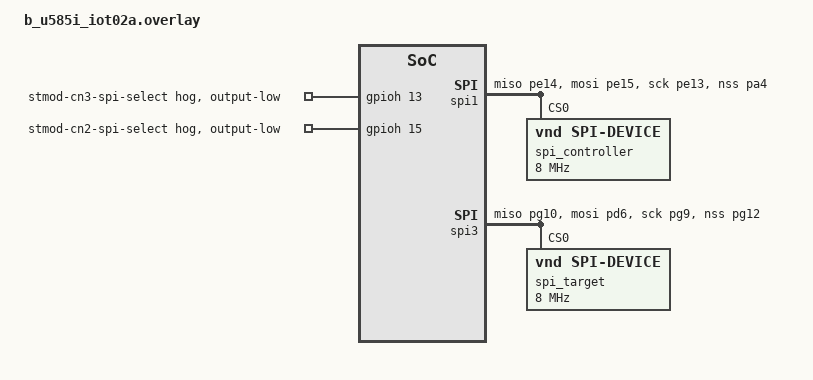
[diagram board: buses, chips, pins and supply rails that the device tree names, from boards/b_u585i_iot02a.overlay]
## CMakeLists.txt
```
# SPDX-FileCopyrightText: Copyright 2026 Nordic Semiconductor ASA
# SPDX-License-Identifier: Apache-2.0

cmake_minimum_required(VERSION 3.28.0)
find_package(Zephyr REQUIRED HINTS $ENV{ZEPHYR_BASE})
project(spi_rtio_loopback)

file(GLOB app_sources src/*.c)
target_sources(app PRIVATE ${app_sources})
```

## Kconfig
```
# SPDX-FileCopyrightText: Copyright 2026 Nordic Semiconductor ASA
# SPDX-License-Identifier: Apache-2.0

mainmenu "SPI RTIO Loopback Test"

config SAMPLE_DATA_WRITE_SIZE
	int "Write size from perspective of controller in bytes"
	default 4

config SAMPLE_DATA_READ_SIZE
	int "Read size from perspective of controller in bytes"
	default 32

choice SAMPLE_SPI_MODE
	prompt "SPI mode used by controller and device"
	default SAMPLE_SPI_MODE_0

config SAMPLE_SPI_MODE_0
	bool "Use SPI mode 0 for controller and device"

config SAMPLE_SPI_MODE_1
	bool "Use SPI mode 1 for controller and device"

config SAMPLE_SPI_MODE_2
	bool "Use SPI mode 2 for controller and device"

config SAMPLE_SPI_MODE_3
	bool "Use SPI mode 3 for controller and device"

endchoice # SAMPLE_SPI_MODE

choice SAMPLE_SPI_BIT_ORDER
	prompt "SPI bit order used by controller and device"
	default SAMPLE_SPI_BIT_ORDER_MSB

config SAMPLE_SPI_BIT_ORDER_MSB
	bool "Use MSB SPI bit order for controller and device"

config SAMPLE_SPI_BIT_ORDER_LSB
	bool "Use LSB SPI bit order for controller and device"

endchoice # SAMPLE_SPI_BIT_ORDER

source "Kconfig.zephyr"
```

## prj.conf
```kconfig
# SPDX-FileCopyrightText: Copyright 2026 Nordic Semiconductor ASA
# SPDX-License-Identifier: Apache-2.0

CONFIG_SPI=y
CONFIG_RTIO=y
CONFIG_SPI_RTIO=y
```

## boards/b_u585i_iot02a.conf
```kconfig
# SPDX-FileCopyrightText: Copyright 2026 Nordic Semiconductor ASA
# SPDX-License-Identifier: Apache-2.0

CONFIG_SPI_STM32_INTERRUPT=y
CONFIG_SPI_STM32_DMA=y
```

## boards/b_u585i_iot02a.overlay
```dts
/*
 * SPDX-FileCopyrightText: Copyright 2026 Nordic Semiconductor ASA
 *
 * SPDX-License-Identifier: Apache-2.0
 */

/* SPI bus pins of SPI1 and SPI3 are exposed on the STMod+ CN2 and CN3 connectors
 *
 *  Bus     MISO           MOSI           SCK            NSS
 *          Pin   Hdr      Pin   Hdr      Pin   Hdr      Pin   Hdr
 *  spi1    PE14  CN3:3    PE15  CN3:2    PE13  CN3:4    PA4   CN3:1
 *  spi3    PG10  CN2:3    PD6   CN2:2    PG9   CN2:4    PG12  CN2:1
 *
 * Short CN2:1 to CN3:1, CN2:2 to CN3:2, CN2:3 to CN3:3 and CN2:4 to CN3:4 for the
 * test to pass.
 */

&gpioh {
	status = "okay";

	stmod-cn3-spi-select {
		gpio-hog;
		gpios = <13 GPIO_ACTIVE_HIGH>;
		output-low;
	};

	stmod-cn2-spi-select {
		gpio-hog;
		gpios = <15 GPIO_ACTIVE_HIGH>;
		output-low;
	};
};

&spi1 {
	status = "okay";
	pinctrl-0 = <&spi1_miso_pe14 &spi1_mosi_pe15 &spi1_sck_pe13 &spi1_nss_pa4>;
	pinctrl-names = "default";
	dmas = <&gpdma1 7 STM32_DMA_PERIPH_TX>,
	       <&gpdma1 6 STM32_DMA_PERIPH_RX>;
	dma-names = "tx", "rx";
	st,fifo-threshold = <8>;

	spi_controller: spi-device@0 {
		compatible = "vnd,spi-device";
		reg = <0>;
		spi-max-frequency = <DT_FREQ_M(8)>;
	};
};

&spi3 {
	status = "okay";
	pinctrl-0 = <&spi3_miso_pg10 &spi3_mosi_pd6 &spi3_sck_pg9 &spi3_nss_pg12>;
	pinctrl-names = "default";
	dmas = <&gpdma1 11 STM32_DMA_PERIPH_TX>,
	       <&gpdma1 10 STM32_DMA_PERIPH_RX>;
	dma-names = "tx", "rx";
	st,fifo-threshold = <8>;

	spi_target: spi-device@0 {
		compatible = "vnd,spi-device";
		reg = <0>;
		spi-max-frequency = <DT_FREQ_M(8)>;
	};
};
```

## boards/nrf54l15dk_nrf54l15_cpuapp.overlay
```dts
/*
 * SPDX-FileCopyrightText: Copyright 2026 Nordic Semiconductor ASA
 *
 * SPDX-License-Identifier: Apache-2.0
 */

/*
 * SCK = P1.12 and P1.13
 * MISO = P1.10 and P1.11
 * MOSI = P1.08 and P1.09
 * CSN = P1.14 and P2.10
 */

&pinctrl {
	spi22_default: spi22_default {
		group1 {
			psels = <NRF_PSEL(SPIM_SCK, 1, 13)>,
				<NRF_PSEL(SPIM_MISO, 1, 11)>,
				<NRF_PSEL(SPIM_MOSI, 1, 9)>;
		};
	};

	spi22_sleep: spi22_sleep {
		group1 {
			psels = <NRF_PSEL(SPIM_SCK, 1, 13)>,
				<NRF_PSEL(SPIM_MISO, 1, 11)>,
				<NRF_PSEL(SPIM_MOSI, 1, 9)>;
			low-power-enable;
		};
	};

	spi21_default: spi21_default {
		group1 {
			psels = <NRF_PSEL(SPIS_SCK, 1, 12)>,
				<NRF_PSEL(SPIS_MISO, 1, 10)>,
				<NRF_PSEL(SPIS_MOSI, 1, 8)>,
				<NRF_PSEL(SPIS_CSN, 1, 14)>;
		};
	};

	spi21_sleep: spi21_sleep {
		group1 {
			psels = <NRF_PSEL(SPIS_SCK, 1, 12)>,
				<NRF_PSEL(SPIS_MISO, 1, 10)>,
				<NRF_PSEL(SPIS_MOSI, 1, 8)>,
				<NRF_PSEL(SPIS_CSN, 1, 14)>;
			low-power-enable;
		};
	};
};

&gpio2 {
	status = "okay";
};

&spi22 {
	pinctrl-0 = <&spi22_default>;
	pinctrl-1 = <&spi22_sleep>;
	pinctrl-names = "default", "sleep";
	overrun-character = <0x00>;
	cs-gpios = <&gpio2 10 GPIO_ACTIVE_LOW>;
	status = "okay";

	spi_controller: spi-device@0 {
		compatible = "vnd,spi-device";
		reg = <0>;
		spi-max-frequency = <DT_FREQ_M(8)>;
	};
};

&spi21 {
	compatible = "nordic,nrf-spis";
	def-char = <0x00>;
	pinctrl-0 = <&spi21_default>;
	pinctrl-1 = <&spi21_sleep>;
	pinctrl-names = "default", "sleep";
	status = "okay";
	/delete-property/ rx-delay-supported;
	/delete-property/ rx-delay;

	spi_target: spi-device@0 {
		compatible = "vnd,spi-device";
		reg = <0>;
		spi-max-frequency = <DT_FREQ_M(8)>;
	};
};
```

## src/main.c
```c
/*
 * SPDX-FileCopyrightText: Copyright 2026 Nordic Semiconductor ASA
 *
 * SPDX-License-Identifier: Apache-2.0
 */

#include <zephyr/kernel.h>
#include <zephyr/drivers/spi.h>
#include <zephyr/rtio/rtio.h>

#include <string.h>

#define SAMPLE_SPI_CONTROLLER_NODE DT_NODELABEL(spi_controller)
#define SAMPLE_SPI_CONTROLLER_BUS DEVICE_DT_GET(DT_BUS(SAMPLE_SPI_CONTROLLER_NODE))
#define SAMPLE_SPI_TARGET_NODE DT_NODELABEL(spi_target)
#define SAMPLE_SPI_TARGET_BUS DEVICE_DT_GET(DT_BUS(SAMPLE_SPI_TARGET_NODE))

#if CONFIG_SAMPLE_SPI_MODE_0
#define SAMPLE_CONFIG_MODE (0)
#elif CONFIG_SAMPLE_SPI_MODE_1
#define SAMPLE_CONFIG_MODE (SPI_MODE_CPHA)
#elif CONFIG_SAMPLE_SPI_MODE_2
#define SAMPLE_CONFIG_MODE (SPI_MODE_CPOL)
#elif CONFIG_SAMPLE_SPI_MODE_3
#define SAMPLE_CONFIG_MODE (SPI_MODE_CPOL | SPI_MODE_CPHA)
#endif

#if CONFIG_SAMPLE_SPI_BIT_ORDER_MSB
#define SAMPLE_CONFIG_BIT_ORDER (SPI_TRANSFER_MSB)
#elif CONFIG_SAMPLE_SPI_BIT_ORDER_LSB
#define SAMPLE_CONFIG_BIT_ORDER (SPI_TRANSFER_LSB)
#endif

#define SAMPLE_SPI_CONTROLLER_CONFIG \
	(SPI_WORD_SET(8) | SAMPLE_CONFIG_MODE | SAMPLE_CONFIG_BIT_ORDER | SPI_OP_MODE_CONTROLLER)

#define SAMPLE_SPI_TARGET_CONFIG \
	(SPI_WORD_SET(8) | SAMPLE_CONFIG_MODE | SAMPLE_CONFIG_BIT_ORDER | SPI_OP_MODE_PERIPHERAL)

#define SAMPLE_TIMEOUT K_SECONDS(1)

#define SAMPLE_WRITE_SIZE CONFIG_SAMPLE_DATA_WRITE_SIZE
#define SAMPLE_READ_SIZE CONFIG_SAMPLE_DATA_READ_SIZE
#define SAMPLE_BUFFER_SIZE (SAMPLE_WRITE_SIZE + SAMPLE_READ_SIZE)

/*
 * The user defines RTIO contexts for which actions like writes and reads will be
 * submitted, and the results of said actions will be retrieved. They are device
 * agnostic.
 *
 * We have one SPI controller device, and one SPI target device. One RTIO context
 * is defined for each of them. This allows us to easily manage their separate
 * transactions as each is tied to a specific RTIO context.
 *
 *
 * We will be using 1 submission queue event (SQEs) for SPI transceive
 * and 1 completion queue event (CQE) for the transaction result.
 */
RTIO_DEFINE(sample_controller_rtio, 1, 1);
RTIO_DEFINE(sample_target_rtio, 1, 1);

/*
 * The user defines RTIO IODEVs which bind the RTIO contexts to the specific
 * underlying devices, in this case SPI devices. The helper macro
 * SPI_DT_IODEV_DEFINE defines an RTIO IODEV specific to a SPI device defined
 * in the devicetree.
 */
SPI_DT_IODEV_DEFINE(sample_controller_rtio_iodev,
		    SAMPLE_SPI_CONTROLLER_NODE,
		    SAMPLE_SPI_CONTROLLER_CONFIG);
SPI_DT_IODEV_DEFINE(sample_target_rtio_iodev,
		    SAMPLE_SPI_TARGET_NODE,
		    SAMPLE_SPI_TARGET_CONFIG);

/* Source of truth transaction data */
static uint8_t sample_write_data[SAMPLE_BUFFER_SIZE];
static uint8_t sample_read_data[SAMPLE_BUFFER_SIZE];

/*
 * The controller will write data from sample_controller_write_data then read
 * data into sample_controller_read_buf.
 */
static uint8_t sample_controller_write_data[SAMPLE_BUFFER_SIZE];
static uint8_t sample_controller_read_buf[SAMPLE_BUFFER_SIZE];

/*
 * The target will read data into sample_target_read_buf, then write data from
 * sample_target_write_data.
 */
static uint8_t sample_target_read_buf[SAMPLE_BUFFER_SIZE];
static uint8_t sample_target_write_data[SAMPLE_BUFFER_SIZE];

static void sample_init_data(void)
{
	memset(sample_write_data, 0xFF, SAMPLE_BUFFER_SIZE);
	for (size_t i = 0; i < SAMPLE_WRITE_SIZE; i++) {
		sample_write_data[i] = (uint8_t)i;
	}

	memset(sample_read_data, 0xFF, SAMPLE_BUFFER_SIZE);
	for (size_t i = 0; i < SAMPLE_READ_SIZE; i++) {
		sample_read_data[i + SAMPLE_WRITE_SIZE] = 255 - (uint8_t)i;
	}

	memcpy(sample_controller_write_data, sample_write_data, SAMPLE_BUFFER_SIZE);
	memset(sample_controller_read_buf, 0x80, SAMPLE_BUFFER_SIZE);
	memset(sample_target_read_buf, 0x80, SAMPLE_BUFFER_SIZE);
	memcpy(sample_target_write_data, sample_read_data, SAMPLE_BUFFER_SIZE);
}

static int sample_validate_transaction(void)
{
	int ret;

	ret = memcmp(sample_read_data, sample_controller_read_buf, SAMPLE_BUFFER_SIZE);
	if (ret) {
		return ret;
	}

	ret = memcmp(sample_write_data, sample_target_read_buf, SAMPLE_BUFFER_SIZE);
	if (ret) {
		return ret;
	}

	return 0;
}

static int sample_submit_target_read_write(void)
{
	struct rtio_sqe *sqe;
	int ret;

	sqe = rtio_sqe_acquire(&sample_target_rtio);
	rtio_sqe_prep_transceive(sqe,
				 &sample_target_rtio_iodev,
				 RTIO_PRIO_NORM,
				 sample_target_write_data,
				 sample_target_read_buf,
				 SAMPLE_BUFFER_SIZE,
				 NULL);

	/*
	 * We will now submit the transaction, allowing the RTIO context to start
	 * performing the SQEs. The RTIO context will start the read SQE, which
	 * will be waiting until we start the write from the SPI controller device.
	 */
	ret = rtio_submit(&sample_target_rtio, 0);
	if (ret) {
		return ret;
	}

	return 0;
}

static int sample_submit_controller_write_read(void)
{
	struct rtio_sqe *sqe;
	int ret;

	sqe = rtio_sqe_acquire(&sample_controller_rtio);
	rtio_sqe_prep_transceive(sqe,
				 &sample_controller_rtio_iodev,
				 RTIO_PRIO_NORM,
				 sample_controller_write_data,
				 sample_controller_read_buf,
				 SAMPLE_BUFFER_SIZE,
				 NULL);

	/*
	 * The RTIO context will start the write SQE, which the waiting target
	 * device will receive, allowing both transactions to complete in the
	 * background.
	 */
	ret = rtio_submit(&sample_controller_rtio, 0);
	if (ret) {
		return ret;
	}

	return 0;
}

static int sample_await_target_read_write(void)
{
	struct rtio_cqe *cqe;
	int ret;

	/* Wait for the CQE generated by the target device transaction completing */
	cqe = rtio_cqe_consume_block(&sample_target_rtio);

	/*
	 * Copy the result of the transaction. If any SQE of the transaction fails,
	 * CQEs will still be generated for successive SQEs if RTIO_SQE_NO_RESPONSE
	 * is not set for them.
	 */
	ret = cqe->result;

	/* Remember to release the CQE once done */
	rtio_cqe_release(&sample_target_rtio, cqe);

	return ret;
}

static int sample_await_controller_write_read(void)
{
	struct rtio_cqe *cqe;
	int ret;

	cqe = rtio_cqe_consume_block(&sample_controller_rtio);

	ret = cqe->result;

	rtio_cqe_release(&sample_controller_rtio, cqe);

	return ret;
}

int main(void)
{
	int ret;

	if (!spi_is_ready_iodev(&sample_controller_rtio_iodev)) {
		printk("%s iodev not ready\n", "controller");
		return 0;
	}

	if (!spi_is_ready_iodev(&sample_controller_rtio_iodev)) {
		printk("%s iodev not ready\n", "target");
		return 0;
	}

	sample_init_data();

	printk("%s %s\n", "submit_target_read_write", "running");
	ret = sample_submit_target_read_write();
	if (ret) {
		printk("%s %s (%d)\n", "submit_target_read_write", "failed", ret);
		return 0;
	}

	/*
	 * Since RTIO, and the hardware itself, is asynchronous, we can't know exactly when
	 * the SPI target device is ready to transceive. We wait "a while" post submitting
	 * the transceive SQE to increase the odds the SPI target is ready and waiting for
	 * the SPI controller to start the transaction.
	 */
	printk("waiting for target ready\n");
	k_sleep(SAMPLE_TIMEOUT);

	printk("%s %s\n", "submit_controller_write_read", "running");
	ret = sample_submit_controller_write_read();
	if (ret) {
		printk("%s %s (%d)\n", "submit_controller_write_read", "failed", ret);
		return 0;
	}

	printk("%s %s\n", "await_target_read_write", "running");
	ret = sample_await_target_read_write();
	if (ret < 0) {
		printk("%s %s (%d)\n", "await_target_read_write", "failed", ret);
		return 0;
	}

	printk("%s %s\n", "await_controller_write_read", "running");
	ret = sample_await_controller_write_read();
	if (ret) {
		printk("%s %s (%d)\n", "await_controller_write_read", "failed", ret);
		return 0;
	}

	printk("%s %s\n", "sample_validate_transaction", "running");
	ret = sample_validate_transaction();
	if (ret) {
		printk("%s %s (%d)\n", "sample_validate_transaction", "failed", ret);
		return 0;
	}

	printk("sample complete\n");
	return 0;
}
```
